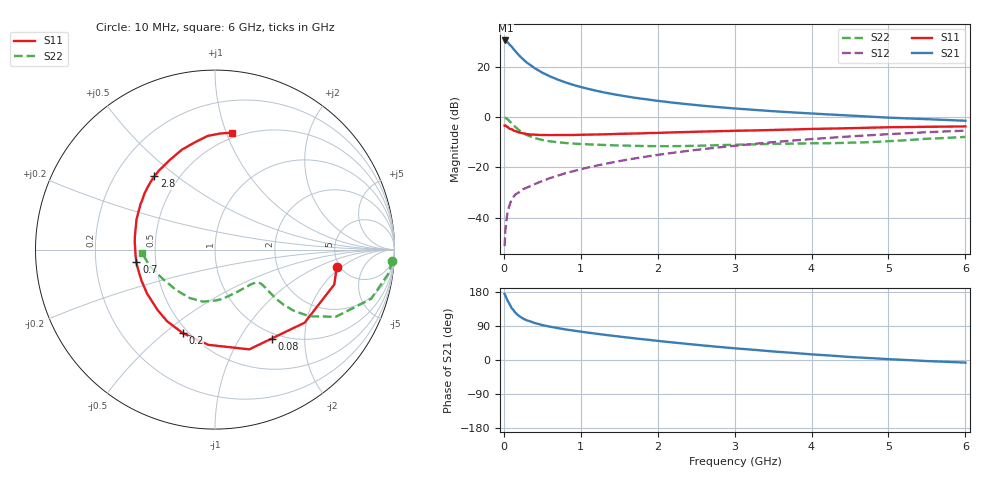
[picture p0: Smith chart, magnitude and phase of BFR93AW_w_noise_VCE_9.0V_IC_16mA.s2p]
! Infineon Technologies  Discrete & RF Semiconductors
! BFR93AW
! VCE =  9.0 V,  IC =  16 mA
! Common Emitter S-Parameters:  Jan 2017
# GHz  S  MA  R  50
!  f  S11  S21  S12  S22
! GHz  MAG  ANG  MAG  ANG  MAG  ANG  MAG  ANG
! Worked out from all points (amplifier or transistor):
!   77 points, 10 MHz to 6 GHz, reference 50 ohm
!   highest |S21| = 30.6 dB at 20 MHz (marker M1)
!   |S21| within 3 dB of that: start of sweep to 115.7 MHz
!   unconditionally stable (mu >= 1): 781.4 MHz to 2.064 GHz
!   at 130 MHz: K = 0.38, MSG = 29.3 dB, |S12| = -31.5 dB
!   at 2.2 GHz: K = 0.99, MSG = 10.0 dB, |S12| = -14.1 dB
!   at 6 GHz: K = 0.85, MSG = 2.0 dB, |S12| = -5.3 dB
!   lowest NFmin = 1.41 dB at 450 MHz
!   S11 on the Smith chart (normalised r, x): 10 MHz: 4.70, -1.71; 80 MHz: 0.91, -1.39; 200 MHz: 0.47, -0.58; 700 MHz: 0.39, -0.07; 2.8 GHz: 0.37, +0.42; 6 GHz: 0.46, +1.05
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0.01  0.6852 -8.1  34.03 174.4  0.0027 87.1  0.9877 -3.7
0.02  0.6925 -16.3  34.07 169.7  0.0056 91.3  0.9788 -7.5
0.05  0.6444 -39.2  31.33 155.6  0.013 72.2  0.9122 -17.5
0.08  0.5876 -57.6  27.66 145.4  0.0188 65.3  0.8225 -24.0
0.1  0.5877 -71.0  25.82 137.2  0.0228 62.7  0.7696 -29.1
0.15  0.5319 -94.0  20.8 124.6  0.029 56.9  0.6423 -35.3
0.2  0.4988 -111.0  17.06 115.8  0.0322 55.6  0.5524 -37.9
0.25  0.4802 -123.8  14.36 109.3  0.0369 55.3  0.4887 -38.8
0.3  0.4645 -133.5  12.28 104.6  0.0398 55.8  0.4428 -38.8
0.4  0.451 -147.1  9.56 97.5  0.0465 57.9  0.3863 -38.0
0.5  0.4446 -157.2  7.765 92.2  0.0537 60.3  0.3531 -37.1
0.6  0.4425 -165.1  6.553 87.9  0.0614 62.0  0.3323 -36.7
0.7  0.4438 -170.9  5.654 84.3  0.0687 64.2  0.3186 -36.5
0.9  0.4448 179.1  4.441 77.7  0.0841 65.8  0.3004 -37.6
1.1  0.4518 171.3  3.683 72.1  0.1004 67.0  0.2896 -39.9
1.5  0.469 158.9  2.755 61.9  0.1338 66.9  0.2746 -47.0
2.1  0.4947 144.0  2.045 48.4  0.1873 64.8  0.2659 -62.9
2.8  0.5294 129.6  1.592 34.5  0.2521 60.1  0.2791 -83.9
3.1  0.5422 123.8  1.465 29.3  0.2805 57.5  0.2854 -92.4
4.1  0.5903 106.6  1.17 13.6  0.3777 48.1  0.3038 -120.7
5.1  0.6368 92.4  0.972 1.3  0.47 36.9  0.3404 -154.3
6  0.6588 81.6  0.855 -6.9  0.5428 26.5  0.4071 -177.2
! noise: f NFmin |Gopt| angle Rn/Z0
0.45  1.41  0.12  146  0.13
0.9  1.69  0.23  168  0.14
1.9  2.69  0.47  -141  0.21
2.4  3.31  0.54  -127  0.41
